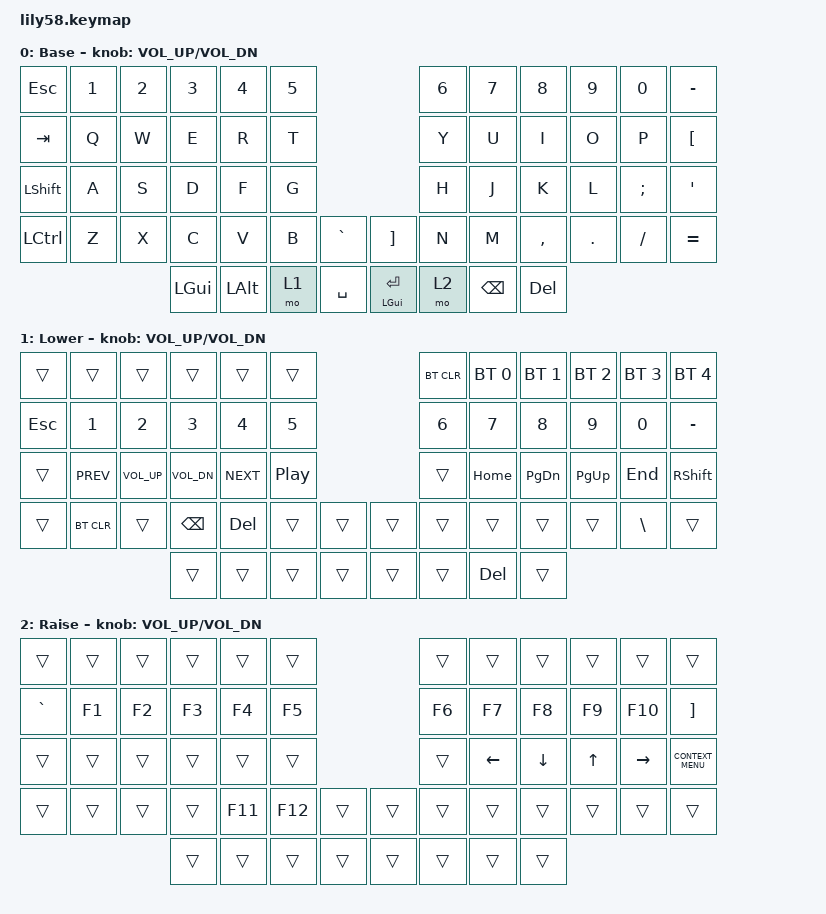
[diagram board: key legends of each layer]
/*
 * Copyright (c) 2020 The ZMK Contributors
 *
 * SPDX-License-Identifier: MIT
 */

#include <behaviors.dtsi>
#include <dt-bindings/zmk/bt.h>
#include <dt-bindings/zmk/keys.h>

/ {
    keymap {
        compatible = "zmk,keymap";

        default_layer {
            // ------------------------------------------------------------------------------------------------------------
            // |  ESC  |  1  |  2  |  3   |  4   |  5   |                   |  6   |  7    |  8    |  9   |   0   |   -   |
            // |  TAB  |  Q  |  W  |  E   |  R   |  T   |                   |  Y   |  U    |  I    |  O   |   P   |   [   |
            // | SHIFT |  A  |  S  |  D   |  F   |  G   |                   |  H   |  J    |  K    |  L   |   ;   |   '   |
            // |  CTRL |  Z  |  X  |  C   |  V   |  B   |     `  |  |  "]"  |  N   |  M    |  ,    |  .   |   /   |   =   |
            //                     | GUI  | ALT  | LOWER|  SPACE |  | ENTER | RAISE| BSPC  | DEL   |

            display-name = "Base";
            bindings = <
&kp ESC    &kp N1  &kp N2  &kp N3    &kp N4    &kp N5                             &kp N6  &kp N7    &kp N8     &kp N9   &kp N0    &kp MINUS
&kp TAB    &kp Q   &kp W   &kp E     &kp R     &kp T                              &kp Y   &kp U     &kp I      &kp O    &kp P     &kp LBKT
&kp LSHFT  &kp A   &kp S   &kp D     &kp F     &kp G                              &kp H   &kp J     &kp K      &kp L    &kp SEMI  &kp SQT
&kp LCTRL  &kp Z   &kp X   &kp C     &kp V     &kp B   &kp GRAVE    &kp RBKT      &kp N   &kp M     &kp COMMA  &kp DOT  &kp FSLH  &kp EQUAL
                           &kp LGUI  &kp LALT  &mo 1   &kp SPACE    &mt LGUI RET  &mo 2   &kp BSPC  &kp DEL
            >;

            sensor-bindings = <&inc_dec_kp C_VOL_UP C_VOL_DN>;
        };

        lower_layer {
            // ------------------------------------------------------------------------------------------------------------
            // |       | BT1 | BT2 |  BT3 |  BT4 |  BT5  |                   |      |       |       |      |       |       |
            // |  F1   |  F2 |  F3 |  F4  |  F5  |  F6   |                   |  F7  |  F8   |  F9   |  F10 |  F11  |  F12  |
            // |   `   | prev| Vol^| Volv | next | pause |                   |  ^   | HOME  |  *    |  (   |  END  |   ~   |
            // |       |BTCLR|     | BSPC | DEL  |       |        |  |       |      |  _    |  +    |  {   |   }   |  "|"  |
            //                     |      |      |       |        |  |       |      |       |       |

            display-name = "Lower";
            bindings = <
&trans   &trans      &trans        &trans        &trans      &trans                      &bt BT_CLR  &bt BT_SEL 0  &bt BT_SEL 1   &bt BT_SEL 2  &bt BT_SEL 3   &bt BT_SEL 4
&kp ESC  &kp N1      &kp N2        &kp N3        &kp N4      &kp N5                      &kp N6      &kp N7        &kp N8         &kp N9        &kp N0         &kp MINUS
&trans   &kp C_PREV  &kp C_VOL_UP  &kp C_VOL_DN  &kp C_NEXT  &kp C_PP                    &trans      &kp HOME      &kp PAGE_DOWN  &kp PAGE_UP   &kp END        &kp RIGHT_SHIFT
&trans   &bt BT_CLR  &trans        &kp BSPC      &kp DEL     &trans    &trans    &trans  &trans      &trans        &trans         &trans        &kp BACKSLASH  &trans
                                   &trans        &trans      &trans    &trans    &trans  &trans      &kp DEL       &trans
            >;

            sensor-bindings = <&inc_dec_kp C_VOL_UP C_VOL_DN>;
        };

        raise_layer {
            // ------------------------------------------------------------------------------------------------------------
            // |       |     |     |      |      |      |                   |      |       |       |      |       |       |
            // |   `   |  F1 |  F2 |  F3  |  F4  |  F5  |                   |  F6  |   F7  |   F8  |  F9  |  F10  |       |
            // |       |     |     |      |      |      |                   |      |   <-  |   v   |  ^   |  ->   |  ctx  |
            // |       |     |     |      |  F11 |  F12 |        |  |       |      |       |       |      |       |       |
            //                     |      |      |      |        |  |       |      |       |       |

            display-name = "Raise";
            bindings = <
&trans     &trans  &trans  &trans  &trans   &trans                     &trans  &trans    &trans    &trans  &trans     &trans
&kp GRAVE  &kp F1  &kp F2  &kp F3  &kp F4   &kp F5                     &kp F6  &kp F7    &kp F8    &kp F9  &kp F10    &kp RBKT
&trans     &trans  &trans  &trans  &trans   &trans                     &trans  &kp LEFT  &kp DOWN  &kp UP  &kp RIGHT  &kp K_CONTEXT_MENU
&trans     &trans  &trans  &trans  &kp F11  &kp F12  &trans    &trans  &trans  &trans    &trans    &trans  &trans     &trans
                           &trans  &trans   &trans   &trans    &trans  &trans  &trans    &trans
            >;

            sensor-bindings = <&inc_dec_kp C_VOL_UP C_VOL_DN>;
        };
    };
};
